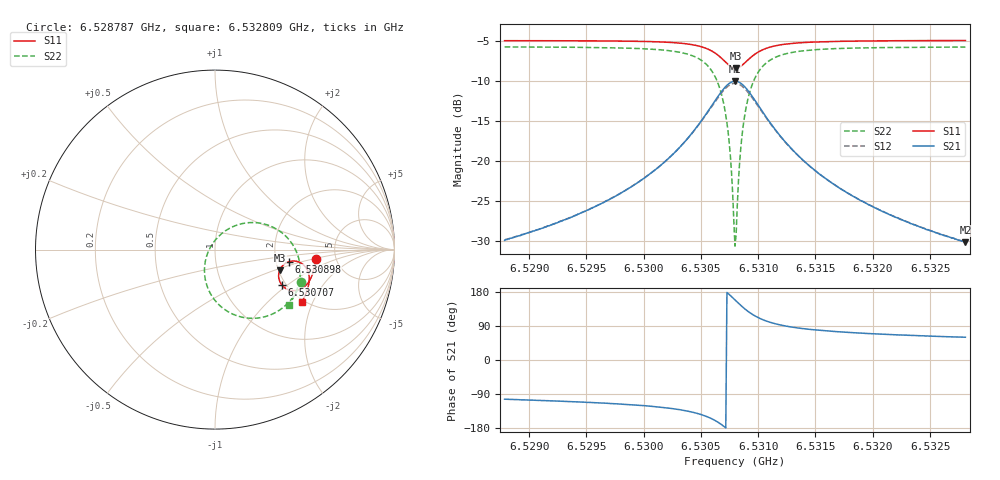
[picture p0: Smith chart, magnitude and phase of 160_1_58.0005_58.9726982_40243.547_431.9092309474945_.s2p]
#  HZ  S  RI  R  50.00
! Rohde & Schwarz Vector Network Analyzer
! Rohde-Schwarz,ZNB20-2Port,1311601062101988,3.16
! Created: UTC 3/21/2024, 12:57:23 AM
! freq[Hz]  re:S11  im:S11  re:S21  im:S21  re:S12  im:S12  re:S22  im:S22
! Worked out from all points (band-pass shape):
!   401 points, 6.528787 GHz to 6.532809 GHz, reference 50 ohm
!   highest |S21| = -10.06 dB at 6.530798 GHz (marker M1); lowest = -30.2 dB at 6.532809 GHz (marker M2)
!   |S21| within 3 dB of the highest: 6.530597 GHz to 6.531 GHz (402.6 kHz wide, 0.00616 % of centre)
!   lowest |S11| = -8.4 dB at 6.530808 GHz (marker M3), VSWR 2.22, Z = 101 - j27.3 ohm
!   |S11| at or under -10 dB: nowhere
!   |S22| runs from -30.7 to -5.8 dB; largest |S21 - S12| = 0.013
!   S11 on the Smith chart (normalised r, x): 6.528787 GHz: 3.49, -0.53; 6.530707 GHz: 1.90, -0.90; 6.530898 GHz: 2.36, -0.39; 6.532809 GHz: 1.95, -1.66
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6.5287867e9  0.5605 -0.0518  -0.00735 -0.0309  -0.00811 -0.0309  0.4813 -0.1813
6.5294604e9  0.5512 -0.1087  -0.017 -0.0442  -0.0181 -0.0438  0.4492 -0.244
6.5298325e9  0.5405 -0.1438  -0.0294 -0.0577  -0.0307 -0.0569  0.4161 -0.2878
6.5301341e9  0.524 -0.1774  -0.0514 -0.0759  -0.0536 -0.0744  0.3651 -0.3331
6.5303654e9  0.4972 -0.2077  -0.0919 -0.0959  -0.0949 -0.0927  0.2827 -0.3724
6.5305363e9  0.453 -0.2277  -0.1616 -0.1028  -0.1642 -0.096  0.1539 -0.3773
6.5306369e9  0.4071 -0.2227  -0.2328 -0.076  -0.2321 -0.0659  0.0345 -0.3187
6.5307073e9  0.371 -0.1951  -0.2856 -0.0164  -0.2795 -0.00573  -0.0424 -0.2079
6.5307475e9  0.3573 -0.1667  -0.3021 0.0378  -0.2926 0.0463  -0.0589 -0.115
6.5307877e9  0.3557 -0.1325  -0.2974 0.0997  -0.2859 0.1045  -0.0389 -0.0147
6.5307978e9  0.3576 -0.1238  -0.2923 0.1149  -0.2808 0.1186  -0.0277 0.00935
6.5308078e9  0.3603 -0.1154  -0.2858 0.1295  -0.2743 0.1323  -0.0143 0.0318
6.5308179e9  0.364 -0.1075  -0.278 0.1434  -0.2666 0.1451  0.00126 0.0528
6.530838e9  0.3737 -0.0931  -0.2585 0.168  -0.2478 0.1679  0.0375 0.0895
6.5308581e9  0.3856 -0.0813  -0.2358 0.1879  -0.226 0.1863  0.0789 0.1176
6.5308983e9  0.4131 -0.0672  -0.1859 0.2117  -0.1786 0.2086  0.1656 0.1475
6.5309687e9  0.4571 -0.0659  -0.1087 0.2142  -0.105 0.211  0.2952 0.1362
6.5310693e9  0.4962 -0.0878  -0.0422 0.1827  -0.0404 0.181  0.4022 0.0669
6.5312201e9  0.519 -0.1237  -0.0021 0.1354  -0.000635 0.1346  0.4608 -0.0306
6.5314715e9  0.5253 -0.1674  0.0154 0.0886  0.0166 0.0883  0.4754 -0.1295
6.5321452e9  0.5089 -0.2387  0.0177 0.0424  0.0186 0.0423  0.4466 -0.2466
6.5328088e9  0.4846 -0.2899  0.0154 0.0268  0.0162 0.0265  0.4122 -0.3066
